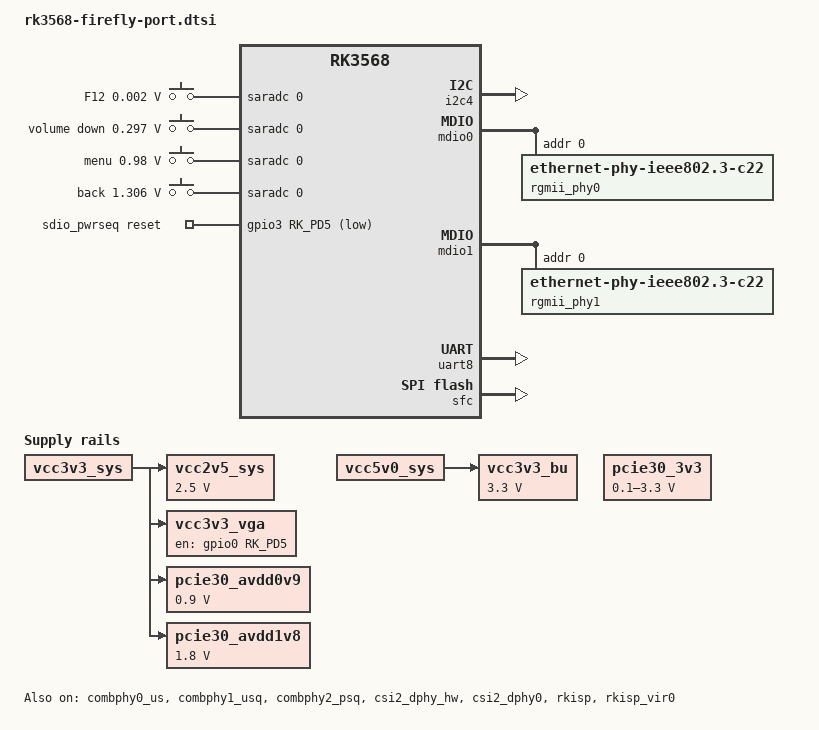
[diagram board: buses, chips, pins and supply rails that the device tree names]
// SPDX-License-Identifier: (GPL-2.0+ OR MIT)
/*
 * Copyright (c) 2020 Rockchip Electronics Co., Ltd.
 *
 */

/dts-v1/;

#include <dt-bindings/gpio/gpio.h>
#include <dt-bindings/pinctrl/rockchip.h>
#include "rk3568-firefly-core.dtsi"
#include "rk3568-linux.dtsi"

/ {
	compatible = "rockchip,rk3568-firefly-port", "rockchip,rk3568";

	adc_keys: adc-keys {
		compatible = "adc-keys";
		io-channels = <&saradc 0>;
		io-channel-names = "buttons";
		keyup-threshold-microvolt = <1800000>;
		poll-interval = <100>;

		recovery-key {
			label = "F12";
			linux,code = <KEY_F12>;
			press-threshold-microvolt = <1750>;
		};

		vol-down-key {
			label = "volume down";
			linux,code = <KEY_VOLUMEDOWN>;
			press-threshold-microvolt = <297500>;
		};

		menu-key {
			label = "menu";
			linux,code = <KEY_MENU>;
			press-threshold-microvolt = <980000>;
		};

		back-key {
			label = "back";
			linux,code = <KEY_BACK>;
			press-threshold-microvolt = <1305500>;
		};
	};

	vcc2v5_sys: vcc2v5-ddr {
		compatible = "regulator-fixed";
		regulator-name = "vcc2v5-sys";
		regulator-always-on;
		regulator-boot-on;
		regulator-min-microvolt = <2500000>;
		regulator-max-microvolt = <2500000>;
		vin-supply = <&vcc3v3_sys>;
	};

	vcc3v3_vga: vcc3v3-vga {
		compatible = "regulator-fixed";
		regulator-name = "vcc3v3_vga";
		regulator-always-on;
		regulator-boot-on;
		gpio = <&gpio0 RK_PD5 GPIO_ACTIVE_HIGH>;
		enable-active-high;
		vin-supply = <&vcc3v3_sys>;
	};

	pcie30_avdd0v9: pcie30-avdd0v9 {
		compatible = "regulator-fixed";
		regulator-name = "pcie30_avdd0v9";
		regulator-always-on;
		regulator-boot-on;
		regulator-min-microvolt = <900000>;
		regulator-max-microvolt = <900000>;
		vin-supply = <&vcc3v3_sys>;
	};

	pcie30_avdd1v8: pcie30-avdd1v8 {
		compatible = "regulator-fixed";
		regulator-name = "pcie30_avdd1v8";
		regulator-always-on;
		regulator-boot-on;
		regulator-min-microvolt = <1800000>;
		regulator-max-microvolt = <1800000>;
		vin-supply = <&vcc3v3_sys>;
	};

	pcie30_3v3: gpio-regulator {
		compatible = "regulator-gpio";
		regulator-name = "pcie30_3v3";
		regulator-min-microvolt = <100000>;
		regulator-max-microvolt = <3300000>;
		gpios = <&gpio0 RK_PD4 GPIO_ACTIVE_HIGH>;
		gpios-states = <0x1>;
		states = <100000 0x0
			  3300000 0x1>;
	};

	vcc3v3_bu: vcc3v3-bu {
		compatible = "regulator-fixed";
		regulator-name = "vcc3v3_bu";
		regulator-always-on;
		regulator-boot-on;
		regulator-min-microvolt = <3300000>;
		regulator-max-microvolt = <3300000>;
		vin-supply = <&vcc5v0_sys>;
	};

	sdio_pwrseq: sdio-pwrseq {
		compatible = "mmc-pwrseq-simple";
		clocks = <&rk809 1>;
		clock-names = "ext_clock";
		pinctrl-names = "default";
		pinctrl-0 = <&wifi_enable_h>;
		/*
			* On the module itself this is one of these (depending
			* on the actual card populated):
			* - SDIO_RESET_L_WL_REG_ON
			* - PDN (power down when low)
		*/
		reset-gpios = <&gpio3 RK_PD5 GPIO_ACTIVE_LOW>;
	};

	wireless_wlan: wireless-wlan {
		compatible = "wlan-platdata";
		rockchip,grf = <&grf>;
		wifi_chip_type = "ap6398s";
		pinctrl-names = "default";
		pinctrl-0 = <&wifi_host_wake_irq>;
		WIFI,host_wake_irq = <&gpio3 RK_PD4 GPIO_ACTIVE_HIGH>;
		status = "disabled";
	};

	wireless_bluetooth: wireless-bluetooth {
		compatible = "bluetooth-platdata";
		clocks = <&rk809 1>;
		clock-names = "ext_clock";
		//wifi-bt-power-toggle;
		uart_rts_gpios = <&gpio2 RK_PB1 GPIO_ACTIVE_LOW>;
		pinctrl-names = "default", "rts_gpio";
		pinctrl-0 = <&uart8m0_rtsn>;
		pinctrl-1 = <&uart8_gpios>;
		BT,reset_gpio    = <&gpio3 RK_PA0 GPIO_ACTIVE_HIGH>;
		BT,wake_gpio     = <&gpio3 RK_PA1 GPIO_ACTIVE_HIGH>;
		BT,wake_host_irq = <&gpio3 RK_PA2 GPIO_ACTIVE_HIGH>;
		status = "disabled";
	};

	flash_led: flash-led {
		compatible = "led,rgb13h";
		label = "pwm-flash-led";
		led-max-microamp = <20000>;
		flash-max-microamp = <20000>;
		flash-max-timeout-us = <1000000>;
		pwms = <&pwm11 0 25000 0>;
		rockchip,camera-module-index = <1>;
		rockchip,camera-module-facing = "front";
		status = "disabled";
	};

	vcc_camera: vcc-camera-regulator {
		compatible = "regulator-fixed";
		//gpio = <&pca9555 PCA_IO0_0 GPIO_ACTIVE_HIGH>;
		gpio = <&pca9555 PCA_IO0_3 GPIO_ACTIVE_HIGH>;
		pinctrl-names = "default";
		pinctrl-0 = <&vcc_cam>;
		regulator-name = "vcc_camera";
		enable-active-high;
		status = "disabled";
	};
};

&combphy0_us {
	status = "okay";
};

&combphy1_usq {
	status = "okay";
};

&combphy2_psq {
	status = "okay";
};

&csi2_dphy_hw {
	status = "okay";
};

&csi2_dphy0 {
	status = "okay";

	ports {
		#address-cells = <1>;
		#size-cells = <0>;
		port@0 {
			reg = <0>;
			#address-cells = <1>;
			#size-cells = <0>;

			mipi_in_ucam0: endpoint@1 {
				reg = <1>;
				remote-endpoint = <&ucam_out0>;
				data-lanes = <1 2 3 4>;
			};
			mipi_in_ucam1: endpoint@2 {
				reg = <2>;
				remote-endpoint = <&gc8034_out>;
				data-lanes = <1 2 3 4>;
			};
			mipi_in_ucam2: endpoint@3 {
				reg = <3>;
				remote-endpoint = <&ov5695_out>;
				data-lanes = <1 2>;
			};
		};
		port@1 {
			reg = <1>;
			#address-cells = <1>;
			#size-cells = <0>;

			csidphy_out: endpoint@0 {
				reg = <0>;
				remote-endpoint = <&isp0_in>;
			};
		};
	};
};

&gmac0 {
	phy-mode = "rgmii";
	clock_in_out = "input";

	snps,reset-gpio = <&gpio2 RK_PD3 GPIO_ACTIVE_LOW>;
	snps,reset-active-low;
	/* Reset time is 20ms, 100ms for rtl8211f */
	snps,reset-delays-us = <0 20000 100000>;

	assigned-clocks = <&cru SCLK_GMAC0_RX_TX>, <&cru SCLK_GMAC0>;
	assigned-clock-parents = <&cru SCLK_GMAC0_RGMII_SPEED>, <&gmac0_clkin>;

	pinctrl-names = "default";
	pinctrl-0 = <&gmac0_miim
		     &gmac0_tx_bus2
		     &gmac0_rx_bus2
		     &gmac0_rgmii_clk
		     &gmac0_rgmii_bus
		     &gmac0_clkinout>;

	tx_delay = <0x3c>;
	rx_delay = <0x2f>;

	phy-handle = <&rgmii_phy0>;
	status = "disabled";
};

&gmac1 {
	phy-mode = "rgmii";
	clock_in_out = "input";

	snps,reset-gpio = <&gpio2 RK_PD1 GPIO_ACTIVE_LOW>;
	snps,reset-active-low;
	/* Reset time is 20ms, 100ms for rtl8211f */
	snps,reset-delays-us = <0 20000 100000>;

	assigned-clocks = <&cru SCLK_GMAC1_RX_TX>, <&cru SCLK_GMAC1>;
	assigned-clock-parents = <&cru SCLK_GMAC1_RGMII_SPEED>, <&gmac1_clkin>;

	pinctrl-names = "default";
	pinctrl-0 = <&gmac1m1_miim
		     &gmac1m1_tx_bus2
		     &gmac1m1_rx_bus2
		     &gmac1m1_rgmii_clk
		     &gmac1m1_rgmii_bus
		     &gmac1m1_clkinout>;

	tx_delay = <0x4f>;
	rx_delay = <0x26>;

	phy-handle = <&rgmii_phy1>;
	status = "disabled";
};

/*
 * power-supply should switche to vcc3v3_lcd1_n
 * when mipi panel is connected to dsi1.
 */

&i2c4 {
	status = "okay";
	gc8034: gc8034@37 {
		compatible = "galaxycore,gc8034";
		status = "disabled";
		reg = <0x37>;
		clocks = <&cru CLK_CIF_OUT>;
		clock-names = "xvclk";
		pinctrl-names = "default";
		pinctrl-0 = <&cif_clk>;
		reset-gpios = <&gpio3 RK_PB6 GPIO_ACTIVE_LOW>;
		pwdn-gpios = <&gpio4 RK_PB4 GPIO_ACTIVE_LOW>;
		rockchip,grf = <&grf>;
		rockchip,camera-module-index = <0>;
		rockchip,camera-module-facing = "back";
		rockchip,camera-module-name = "RK-CMK-8M-2-v1";
		rockchip,camera-module-lens-name = "CK8401";
		port {
			gc8034_out: endpoint {
				remote-endpoint = <&mipi_in_ucam1>;
				data-lanes = <1 2 3 4>;
			};
		};
	};
	os04a10: os04a10@36 {
		status = "disabled";
		compatible = "ovti,os04a10";
		reg = <0x36>;
		clocks = <&cru CLK_CIF_OUT>;
		clock-names = "xvclk";
		power-domains = <&power RK3568_PD_VI>;
		pinctrl-names = "default";
		pinctrl-0 = <&cif_clk>;
		reset-gpios = <&gpio3 RK_PB6 GPIO_ACTIVE_LOW>;
		pwdn-gpios = <&gpio4 RK_PB4 GPIO_ACTIVE_HIGH>;
		rockchip,camera-module-index = <0>;
		rockchip,camera-module-facing = "back";
		rockchip,camera-module-name = "CMK-OT1607-FV1";
		rockchip,camera-module-lens-name = "M12-40IRC-4MP-F16";
		port {
			ucam_out0: endpoint {
				remote-endpoint = <&mipi_in_ucam0>;
				data-lanes = <1 2 3 4>;
			};
		};
	};
	ov5695: ov5695@36 {
		status = "disabled";
		compatible = "ovti,ov5695";
		reg = <0x36>;
		clocks = <&cru CLK_CIF_OUT>;
		clock-names = "xvclk";
		power-domains = <&power RK3568_PD_VI>;
		pinctrl-names = "default";
		pinctrl-0 = <&cif_clk>;
		reset-gpios = <&gpio3 RK_PB6 GPIO_ACTIVE_HIGH>;
		pwdn-gpios = <&gpio4 RK_PB4 GPIO_ACTIVE_HIGH>;
		rockchip,camera-module-index = <0>;
		rockchip,camera-module-facing = "back";
		rockchip,camera-module-name = "TongJu";
		rockchip,camera-module-lens-name = "CHT842-MD";
		port {
			ov5695_out: endpoint {
				remote-endpoint = <&mipi_in_ucam2>;
				data-lanes = <1 2>;
			};
		};
	};
};

&i2c1 {
	status = "disabled";
	clock-frequency = <100000>;

	pca9555: gpio@21 {
		status = "disabled";
		compatible = "nxp,pca9555";
		reg = <0x21>;
		gpio-controller;
		#gpio-cells = <2>;
		gpio-group-num = <500>;
	};

	gt1x: gt1x@14 {
		status = "disabled";
		compatible = "goodix,gt1x";
		reg = <0x14>;
		pinctrl-names = "default";
		pinctrl-0 = <&touch_gpio>;
		goodix,rst-gpio = <&gpio0 RK_PB6 GPIO_ACTIVE_HIGH>;
		goodix,irq-gpio = <&gpio0 RK_PB5 IRQ_TYPE_LEVEL_LOW>;
	};
};

&i2c5 {
	status = "disabled";

	hym8563: hym8563@51 {
		status = "disabled";
		compatible = "haoyu,hym8563";
		reg = <0x51>;
		#clock-cells = <0>;
		rtc-irq-gpio = <&gpio0 RK_PD3 IRQ_TYPE_EDGE_FALLING>;
		clock-frequency = <32768>;
		//clock-output-names = "xin32k";
		/* rtc_int is not connected */
	};

	mc3230: mc3230sensor@4c {
		compatible = "gs_mc3230";
		reg = <0x4c>;
		type = <SENSOR_TYPE_ACCEL>;
		irq_enable = <0>;
		poll_delay_ms = <30>;
		layout = <4>;
		status = "disabled";
	};

	mxc6655xa: mxc6655xa@15 {
		status = "disabled";
		compatible = "gs_mxc6655xa";
		pinctrl-names = "default";
		pinctrl-0 = <&mxc6655xa_irq_gpio>;
		reg = <0x15>;
		irq-gpio = <&gpio3 RK_PC1 IRQ_TYPE_LEVEL_LOW>;
		irq_enable = <0>;
		poll_delay_ms = <30>;
		type = <SENSOR_TYPE_ACCEL>;
		power-off-in-suspend = <1>;
		layout = <1>;
	};
};

&mdio0 {
	rgmii_phy0: phy@0 {
		compatible = "ethernet-phy-ieee802.3-c22";
		reg = <0x0>;
	};
};

&mdio1 {
	rgmii_phy1: phy@0 {
		compatible = "ethernet-phy-ieee802.3-c22";
		reg = <0x0>;
	};
};

&pcie30phy {
	status = "disabled";
};

&pcie3x2 {
	reset-gpios = <&gpio2 RK_PD6 GPIO_ACTIVE_HIGH>;
	vpcie3v3-supply = <&pcie30_3v3>;
	status = "disabled";
};

&rk809_sound {
	/delete-property/ simple-audio-card,hp-det-gpio;
};

&rk809_codec {
	pinctrl-0 = <&i2s1m0_mclk>;
};

&rkisp {
	status = "okay";
};

&rkisp_mmu {
	status = "okay";
};

&rkisp_vir0 {
	status = "okay";

	port {
		#address-cells = <1>;
		#size-cells = <0>;

		isp0_in: endpoint@0 {
			reg = <0>;
			remote-endpoint = <&csidphy_out>;
		};
	};
};

&sata2 {
	status = "disabled";
};

&sdmmc2 {
	max-frequency = <150000000>;
	supports-sdio;
	bus-width = <4>;
	disable-wp;
	cap-sd-highspeed;
	cap-sdio-irq;
	keep-power-in-suspend;
	pinctrl-names = "default";
	pinctrl-0 = <&sdmmc2m0_bus4 &sdmmc2m0_cmd &sdmmc2m0_clk>;
	sd-uhs-sdr104;
	mmc-pwrseq = <&sdio_pwrseq>;
	non-removable;
	status = "disabled";
};

&spdif_8ch {
	status = "disabled";
	pinctrl-names = "default";
	pinctrl-0 = <&spdifm1_tx>;
};

&uart3 {
	status = "disabled";
	pinctrl-names = "default";
	pinctrl-0 = <&uart3m1_xfer>;
};

&uart4 {
	status = "disabled";
	pinctrl-names = "default";
	pinctrl-0 = <&uart4m1_xfer>;
};

&uart8 {
	status = "okay";
	pinctrl-names = "default";
	pinctrl-0 = <&uart8m0_xfer &uart8m0_ctsn>;
};

&can1 {
	status = "disabled";
	compatible = "rockchip,can-1.0";
	assigned-clocks = <&cru CLK_CAN1>;
	assigned-clock-rates = <200000000>;
	pinctrl-names = "default";
	pinctrl-0 = <&can1m1_pins>;
};

&can2 {
	status = "disabled";
	compatible = "rockchip,can-1.0";
	assigned-clocks = <&cru CLK_CAN2>;
	assigned-clock-rates = <200000000>;
	pinctrl-names = "default";
	pinctrl-0 = <&can2m0_pins>;
};

&spi1 {
	status = "disabled";
	max-freq = <48000000>;
	dev-port = <0>;
	pinctrl-0 = <&spi1m1_pins>;
	pinctrl-1 = <&spi1m1_pins_hs>;

	spi_wk2xxx: spi_wk2xxx@00{
		status = "disabled";
		compatible = "firefly,spi-wk2xxx";
		reg = <0x00>;
		spi-max-frequency = <10000000>;
		power-gpio = <&pca9555 PCA_IO1_7 GPIO_ACTIVE_HIGH>;
		reset-gpio = <&pca9555 PCA_IO1_1 GPIO_ACTIVE_HIGH>;
		irq-gpio = <&gpio0 RK_PA6 IRQ_TYPE_EDGE_FALLING>;
		cs-gpio = <&gpio3 RK_PA1 GPIO_ACTIVE_HIGH>;
		/* rk3399 driver support SPI_CPOL | SPI_CPHA | SPI_CS_HIGH */
		//spi-cpha;     /* SPI mode: CPHA=1 */
		//spi-cpol;     /* SPI mode: CPOL=1 */
		//spi-cs-high;
	};
};

&pwm7 {
	status = "disabled";

	compatible = "rockchip,remotectl-pwm";
	interrupts = <GIC_SPI 83 IRQ_TYPE_LEVEL_HIGH>;
	remote_pwm_id = <3>;
	handle_cpu_id = <1>;
	remote_support_psci = <0>;
	pinctrl-names = "default";
	pinctrl-0 = <&pwm7_pins>;

	ir_key_firefly{
		rockchip,usercode = <0xff00>;
		rockchip,key_table =
			<0xeb   KEY_POWER>,
			<0xec   KEY_MENU>,
			<0xfe   KEY_BACK>,
			<0xb7   KEY_HOME>,
			<0xa3   KEY_WWW>,
			<0xf4   KEY_VOLUMEUP>,
			<0xa7   KEY_VOLUMEDOWN>,
			<0xf8   KEY_REPLY>,
			<0xfc   KEY_UP>,
			<0xfd   KEY_DOWN>,
			<0xf1   KEY_LEFT>,
			<0xe5   KEY_RIGHT>;
	};
};

&pinctrl {
	cam {
		vcc_cam: vcc-cam {
			rockchip,pins =
				/* camera power en */
				<0 RK_PC1 RK_FUNC_GPIO &pcfg_pull_none>;
		};
	};
	headphone {
		hp_det: hp-det {
			rockchip,pins = <3 RK_PC2 RK_FUNC_GPIO &pcfg_pull_down>;
		};
	};

	sdio-pwrseq {
		wifi_enable_h: wifi-enable-h {
			rockchip,pins = <3 RK_PD5 RK_FUNC_GPIO &pcfg_pull_none>;
		};
	};

	wireless-wlan {
		wifi_host_wake_irq: wifi-host-wake-irq {
			rockchip,pins = <3 RK_PD4 RK_FUNC_GPIO &pcfg_pull_down>;
		};
	};

	wireless-bluetooth {
		uart8_gpios: uart8-gpios {
			rockchip,pins = <2 RK_PB1 RK_FUNC_GPIO &pcfg_pull_none>;
		};
	};

	touch {
		touch_gpio: touch-gpio {
			rockchip,pins =
				<0 RK_PB5 RK_FUNC_GPIO &pcfg_pull_up>,
				<0 RK_PB6 RK_FUNC_GPIO &pcfg_pull_none>;
		};
	};

	mxc6655xa {
		mxc6655xa_irq_gpio: mxc6655xa_irq_gpio {
			rockchip,pins = <RK_GPIO3 RK_PC1 RK_FUNC_GPIO &pcfg_pull_none>;
		};
	};
};

&sfc{
    pinctrl-names = "default";
    pinctrl-0 = <&fspi_pins>;
    assigned-clock-rates = <50000000>;
    status = "okay";
};

